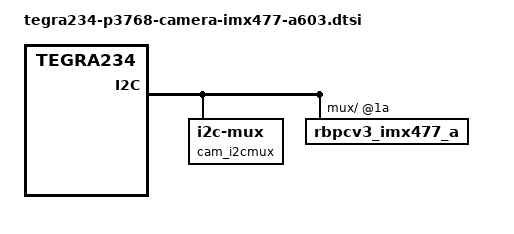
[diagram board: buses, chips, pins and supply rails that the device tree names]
/*
 * Enable IMX477 (RBPv3) camera sensor on A603 carrier board W9 connector.
 *
 * Fixes applied on top of the base tegra234-p3768-camera-rbpcv3-imx477.dtsi:
 *
 * 1. GPIO hog: the base DTS drives CAM0_PWDN (PH.06, GPIO 62) output-low
 *    at boot via camera-control-output-low, holding the IMX477 in reset and
 *    causing EBUSY when the driver tries to claim it. Delete the hog so the
 *    driver owns and manages PH.06 via its reset-gpios property.
 *
 * 2. CSI interface: the base mode tables target serial_a / port-index=0
 *    (NVIDIA reference devkit). The A603 W9 connector physically routes to
 *    NVCSI brick 1 (serial_b, port-index=1). Override all three layers:
 *    sensor modes, VI input endpoint, and NVCSI channel endpoint.
 *
 * lane_polarity="6" (DATA0+DATA1 inverted) is already correct in the base
 * DTSI for the A603 W9 PCB traces; no override needed.
 *
 * Copyright (c) 2024, Sighthound Inc. All rights reserved.
 */
/ {
	cam_i2cmux {
		i2c@0 {
			/* Enable IMX477 on mux channel 0 (Linux I2C bus 9, addr 0x1a) */
			rbpcv3_imx477_a@1a {
				status = "okay";

				/*
				 * A603 W9 routes to NVCSI brick 0 (serial_a, port-index=0).
				 * Confirmed empirically: serial_a + lane_polarity=6 is the
				 * correct mapping for the A603 CSI connector.
				 */
				mode0 {
					tegra_sinterface = "serial_a";
				};
				mode1 {
					tegra_sinterface = "serial_a";
				};
				ports {
					port@0 {
						endpoint {
							port-index = <0>;
						};
					};
				};
			};
		};
		/* Disable second-slot camera nodes to prevent RTCPU VI channel conflicts.
		 * Also delete their ports nodes to remove phandle references to
		 * rbpcv3_imx477_csi_in1 and rbpcv2_imx219_csi_in1 which live in
		 * NVCSI channel@1 (deleted above). Without this, DTC errors on
		 * phandle_references check. */
		i2c@1 {
			rbpcv3_imx477_c@1a {
				status = "disabled";
				/delete-node/ ports;
			};
			rbpcv2_imx219_c@10 {
				status = "disabled";
				/delete-node/ ports;
			};
		};
	};

	/* Match VI input port-index to serial_a (brick 0), delete dangling port@1 */
	tegra-capture-vi {
		num-channels = <1>;
		ports {
			/delete-node/ port@1;
			port@0 {
				endpoint {
					port-index = <0>;
				};
			};
		};
	};

	/* Match NVCSI channel port-index to serial_a (brick 0), delete dangling channel@1 */
	host1x@13e00000 {
		nvcsi@15a00000 {
			num-channels = <1>;
			/delete-node/ channel@1;
			channel@0 {
				ports {
					port@0 {
						endpoint@0 {
							port-index = <0>;
						};
					};
				};
			};
		};
	};

	/*
	 * Remove CAM0_PWDN (PH.06 / GPIO 62) from the gpio-hog entirely.
	 * The base DTS camera-control-output-low hog drives it output-low
	 * at boot (sensor in reset) and blocks the driver with EBUSY.
	 * The imx477 driver manages PH.06 itself via reset-gpios.
	 */
	gpio@6000d000 {
		/delete-node/ camera-control-output-low;
	};

	tegra-camera-platform {
		modules {
			/*
			 * Disable module1 (second camera slot). It also targets serial_b
			 * and would claim the same RTCPU VI channel match config as module0.
			 * Without this, VI channel allocation fails with "channel 35 in use".
			 */
			/delete-node/ module1;
		};
	};
};
